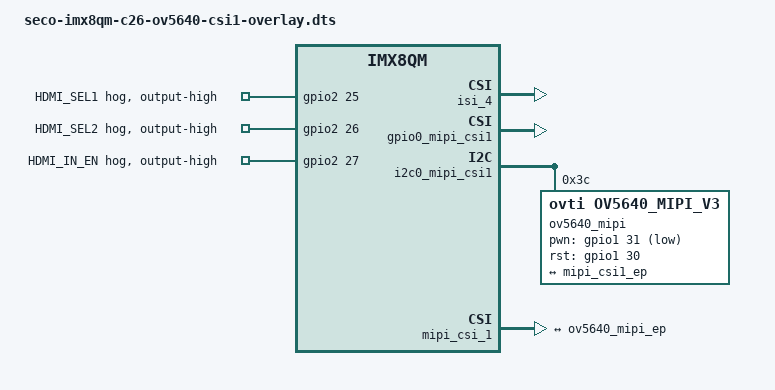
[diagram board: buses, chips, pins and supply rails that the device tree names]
/*
 * Copyright 2017-2018 NXP
 *
 * This program is free software; you can redistribute it and/or
 * modify it under the terms of the GNU General Public License
 * as published by the Free Software Foundation; either version 2
 * of the License, or (at your option) any later version.
 *
 * This program is distributed in the hope that it will be useful,
 * but WITHOUT ANY WARRANTY; without even the implied warranty of
 * MERCHANTABILITY or FITNESS FOR A PARTICULAR PURPOSE.  See the
 * GNU General Public License for more details.
 */
/*
 * OV5640 connected to csi1
 */

/dts-v1/;
/plugin/;

#include <dt-bindings/clock/imx8qm-clock.h>
#include <dt-bindings/pinctrl/pads-imx8qm.h>
#include <dt-bindings/gpio/gpio.h>

/ {
        compatible = "fsl,imx8qm-mek","fsl,seco-imx8qm-c26", "fsl,imx8qm";

/*  __________________________________________________________________________
 * |                                                                          |
 * |                               OV5640 OVERLAY                             |
 * |__________________________________________________________________________|
 */


	fragment@0 {
                target = <&isi_4>;
                __overlay__ {
			status = "okay";
		};
	};

	fragment@2 {
                target = <&gpio0_mipi_csi1>;
                __overlay__ {
			status = "okay";
		};
	};

	fragment@3 {
                target = <&i2c0_mipi_csi1>;
                __overlay__ {
			#address-cells = <1>;
			#size-cells = <0>;
			status = "okay";
			ov5640_mipi: ov5640_mipi@3c {
				compatible = "ovti,ov5640_mipi_v3";
				reg = <0x3c>;
				pinctrl-names = "default";
				pinctrl-0 = <&pinctrl_mipi_csi1_camera>;
				clocks = <&clk IMX8QM_CLK_DUMMY>;
				clock-names = "csi_mclk";
				csi_id = <1>;
				pwn-gpios = <&gpio1 31 GPIO_ACTIVE_LOW>;
				rst-gpios = <&gpio1 30 GPIO_ACTIVE_HIGH>;
				mclk = <24000000>;
				mclk_source = <0>;
				mipi_csi;
				status = "okay";
				port {
					ov5640_mipi_ep: endpoint {
						remote-endpoint = <&mipi_csi1_ep>;
					};
				};
			};
		};	
	};

	fragment@4 {
                target = <&mipi_csi_1>;
                __overlay__ {
		        status = "okay";
			port@1 {
				mipi_csi1_ep: endpoint {
					remote-endpoint = <&ov5640_mipi_ep>;
					data-lanes = <1 2>;
				};
			};
		};
	};

	fragment@5 {
                target = <&gpio2>;
                __overlay__ {
			status = "okay";
		    line_b@0 {
			gpio-hog;
			gpios = <25 0>;
			output-high;
			line-name = "HDMI_SEL1";
			};

		    line_b@1 {
			gpio-hog;
			gpios = <26 0>;
			output-high;
			line-name = "HDMI_SEL2";
			};

		    line_b@2 {
			gpio-hog;
			gpios = <27 0>;
			output-high;
			line-name = "HDMI_IN_EN";
			};

		};
	};
};
